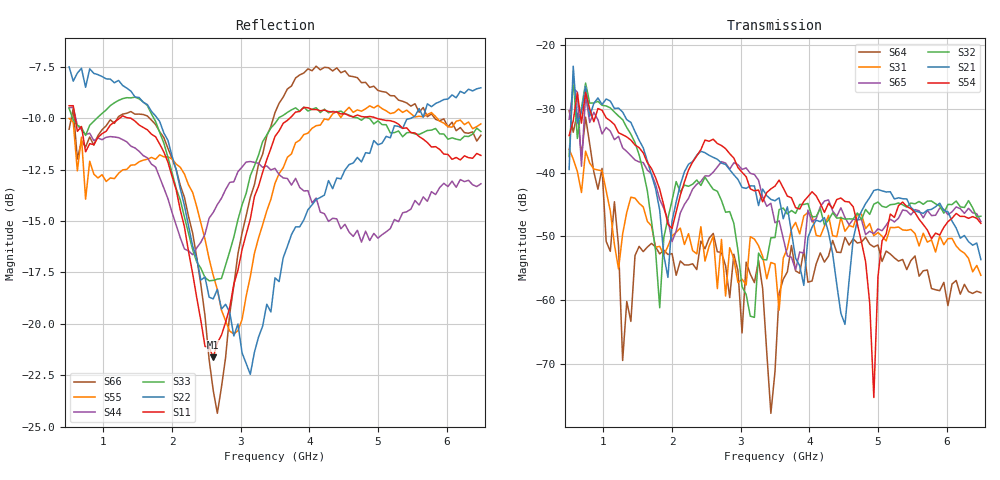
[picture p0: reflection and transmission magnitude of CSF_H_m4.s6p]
!Keysight Technologies,M9804A,MY58100912,A.14.10.03
!Date: Thursday, April 27, 2023 10:28:33
!Correction: S11(C  6-Port  )
!S12(C  6-Port  )
!S13(C  6-Port  )
!S14(C  6-Port  )
!S15(C  6-Port  )
!S16(C  6-Port  )
!S21(C  6-Port  )
!S22(C  6-Port  )
!S23(C  6-Port  )
!S24(C  6-Port  )
!S25(C  6-Port  )
!S26(C  6-Port  )
!S31(C  6-Port  )
!S32(C  6-Port  )
!S33(C  6-Port  )
!S34(C  6-Port  )
!S35(C  6-Port  )
!S36(C  6-Port  )
!S41(C  6-Port  )
!S42(C  6-Port  )
!S43(C  6-Port  )
!S44(C  6-Port  )
!S45(C  6-Port  )
!S46(C  6-Port  )
!S51(C  6-Port  )
!S52(C  6-Port  )
!S53(C  6-Port  )
!S54(C  6-Port  )
!S55(C  6-Port  )
!S56(C  6-Port  )
!S61(C  6-Port  )
!S62(C  6-Port  )
!S63(C  6-Port  )
!S64(C  6-Port  )
!S65(C  6-Port  )
!S66(C  6-Port  )
!S6P File: Measurement: :
# Hz S  RI  R 50
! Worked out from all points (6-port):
!   101 points, 500 MHz to 6.5 GHz, reference 50 ohm
!   strongest paths, dB at 500 MHz, 2 GHz, 3.5 GHz, 5 GHz, 6.5 GHz:
!     S54: -34.2, -48.7, -42.1, -56.4, -48.0
!     S21: -39.5, -47.6, -44.4, -42.6, -53.6
!     S32: -37.5, -44.3, -50.2, -44.6, -46.8
!     S65: -31.6, -50.8, -47.9, -48.8, -47.7
!     S31: -36.3, -49.9, -54.3, -49.4, -56.1
!     S64: -30.3, -52.7, -71.2, -51.3, -58.8
!   lowest |S11| = -21.6 dB at 2.6 GHz (marker M1), VSWR 1.18, Z = 42.6 + j1.99 ohm
!   |S11| at or under -10 dB: 589 MHz to 1.239 GHz (650 MHz wide, 71.1 % of centre); 1.385 GHz to 3.717 GHz (2.332 GHz wide, 91.4 % of centre); 4.973 GHz to end of sweep
